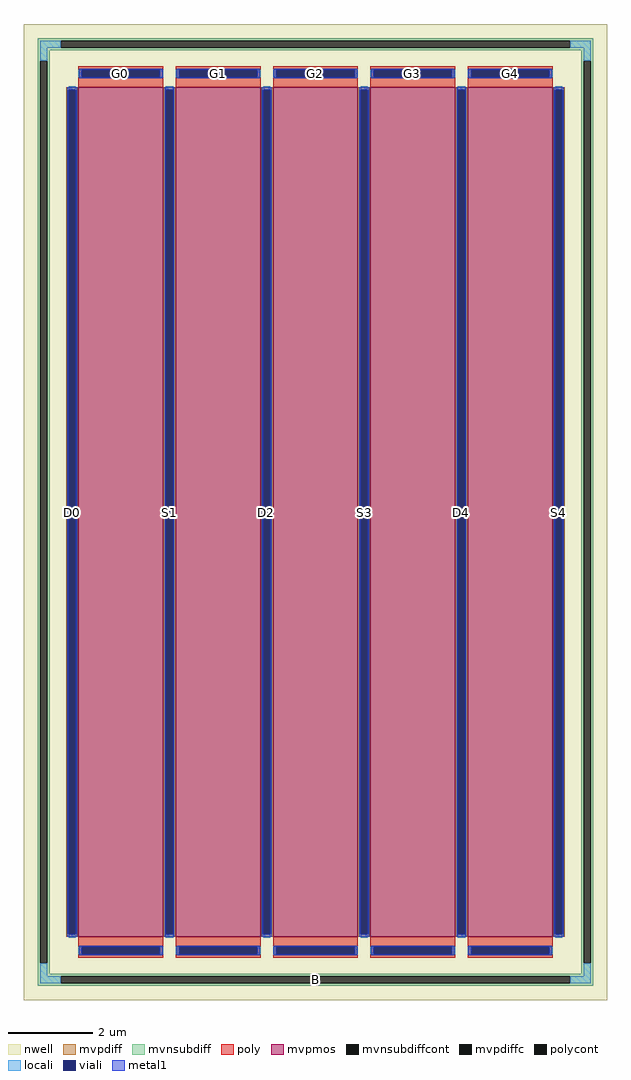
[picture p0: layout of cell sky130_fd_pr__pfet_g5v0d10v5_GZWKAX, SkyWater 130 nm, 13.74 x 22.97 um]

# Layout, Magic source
magic
tech sky130A
magscale 1 2
<< nwell >>
rect -1374 -2297 1374 2297
<< mvpmos >>
rect -1116 -2000 -716 2000
rect -658 -2000 -258 2000
rect -200 -2000 200 2000
rect 258 -2000 658 2000
rect 716 -2000 1116 2000
<< mvpdiff >>
rect -1174 1988 -1116 2000
rect -1174 -1988 -1162 1988
rect -1128 -1988 -1116 1988
rect -1174 -2000 -1116 -1988
rect -716 1988 -658 2000
rect -716 -1988 -704 1988
rect -670 -1988 -658 1988
rect -716 -2000 -658 -1988
rect -258 1988 -200 2000
rect -258 -1988 -246 1988
rect -212 -1988 -200 1988
rect -258 -2000 -200 -1988
rect 200 1988 258 2000
rect 200 -1988 212 1988
rect 246 -1988 258 1988
rect 200 -2000 258 -1988
rect 658 1988 716 2000
rect 658 -1988 670 1988
rect 704 -1988 716 1988
rect 658 -2000 716 -1988
rect 1116 1988 1174 2000
rect 1116 -1988 1128 1988
rect 1162 -1988 1174 1988
rect 1116 -2000 1174 -1988
<< mvpdiffc >>
rect -1162 -1988 -1128 1988
rect -704 -1988 -670 1988
rect -246 -1988 -212 1988
rect 212 -1988 246 1988
rect 670 -1988 704 1988
rect 1128 -1988 1162 1988
<< mvnsubdiff >>
rect -1308 2219 1308 2231
rect -1308 2185 -1200 2219
rect 1200 2185 1308 2219
rect -1308 2173 1308 2185
rect -1308 2123 -1250 2173
rect -1308 -2123 -1296 2123
rect -1262 -2123 -1250 2123
rect 1250 2123 1308 2173
rect -1308 -2173 -1250 -2123
rect 1250 -2123 1262 2123
rect 1296 -2123 1308 2123
rect 1250 -2173 1308 -2123
rect -1308 -2185 1308 -2173
rect -1308 -2219 -1200 -2185
rect 1200 -2219 1308 -2185
rect -1308 -2231 1308 -2219
<< mvnsubdiffcont >>
rect -1200 2185 1200 2219
rect -1296 -2123 -1262 2123
rect 1262 -2123 1296 2123
rect -1200 -2219 1200 -2185
<< poly >>
rect -1116 2081 -716 2097
rect -1116 2047 -1100 2081
rect -732 2047 -716 2081
rect -1116 2000 -716 2047
rect -658 2081 -258 2097
rect -658 2047 -642 2081
rect -274 2047 -258 2081
rect -658 2000 -258 2047
rect -200 2081 200 2097
rect -200 2047 -184 2081
rect 184 2047 200 2081
rect -200 2000 200 2047
rect 258 2081 658 2097
rect 258 2047 274 2081
rect 642 2047 658 2081
rect 258 2000 658 2047
rect 716 2081 1116 2097
rect 716 2047 732 2081
rect 1100 2047 1116 2081
rect 716 2000 1116 2047
rect -1116 -2047 -716 -2000
rect -1116 -2081 -1100 -2047
rect -732 -2081 -716 -2047
rect -1116 -2097 -716 -2081
rect -658 -2047 -258 -2000
rect -658 -2081 -642 -2047
rect -274 -2081 -258 -2047
rect -658 -2097 -258 -2081
rect -200 -2047 200 -2000
rect -200 -2081 -184 -2047
rect 184 -2081 200 -2047
rect -200 -2097 200 -2081
rect 258 -2047 658 -2000
rect 258 -2081 274 -2047
rect 642 -2081 658 -2047
rect 258 -2097 658 -2081
rect 716 -2047 1116 -2000
rect 716 -2081 732 -2047
rect 1100 -2081 1116 -2047
rect 716 -2097 1116 -2081
<< polycont >>
rect -1100 2047 -732 2081
rect -642 2047 -274 2081
rect -184 2047 184 2081
rect 274 2047 642 2081
rect 732 2047 1100 2081
rect -1100 -2081 -732 -2047
rect -642 -2081 -274 -2047
rect -184 -2081 184 -2047
rect 274 -2081 642 -2047
rect 732 -2081 1100 -2047
<< locali >>
rect -1296 2185 -1200 2219
rect 1200 2185 1296 2219
rect -1296 2123 -1262 2185
rect 1262 2123 1296 2185
rect -1116 2047 -1100 2081
rect -732 2047 -716 2081
rect -658 2047 -642 2081
rect -274 2047 -258 2081
rect -200 2047 -184 2081
rect 184 2047 200 2081
rect 258 2047 274 2081
rect 642 2047 658 2081
rect 716 2047 732 2081
rect 1100 2047 1116 2081
rect -1162 1988 -1128 2004
rect -1162 -2004 -1128 -1988
rect -704 1988 -670 2004
rect -704 -2004 -670 -1988
rect -246 1988 -212 2004
rect -246 -2004 -212 -1988
rect 212 1988 246 2004
rect 212 -2004 246 -1988
rect 670 1988 704 2004
rect 670 -2004 704 -1988
rect 1128 1988 1162 2004
rect 1128 -2004 1162 -1988
rect -1116 -2081 -1100 -2047
rect -732 -2081 -716 -2047
rect -658 -2081 -642 -2047
rect -274 -2081 -258 -2047
rect -200 -2081 -184 -2047
rect 184 -2081 200 -2047
rect 258 -2081 274 -2047
rect 642 -2081 658 -2047
rect 716 -2081 732 -2047
rect 1100 -2081 1116 -2047
rect -1296 -2185 -1262 -2123
rect 1262 -2185 1296 -2123
rect -1296 -2219 -1200 -2185
rect 1200 -2219 1296 -2185
<< viali >>
rect -1100 2047 -732 2081
rect -642 2047 -274 2081
rect -184 2047 184 2081
rect 274 2047 642 2081
rect 732 2047 1100 2081
rect -1162 -1988 -1128 1988
rect -704 -1988 -670 1988
rect -246 -1988 -212 1988
rect 212 -1988 246 1988
rect 670 -1988 704 1988
rect 1128 -1988 1162 1988
rect -1100 -2081 -732 -2047
rect -642 -2081 -274 -2047
rect -184 -2081 184 -2047
rect 274 -2081 642 -2047
rect 732 -2081 1100 -2047
<< metal1 >>
rect -1112 2081 -720 2087
rect -1112 2047 -1100 2081
rect -732 2047 -720 2081
rect -1112 2041 -720 2047
rect -654 2081 -262 2087
rect -654 2047 -642 2081
rect -274 2047 -262 2081
rect -654 2041 -262 2047
rect -196 2081 196 2087
rect -196 2047 -184 2081
rect 184 2047 196 2081
rect -196 2041 196 2047
rect 262 2081 654 2087
rect 262 2047 274 2081
rect 642 2047 654 2081
rect 262 2041 654 2047
rect 720 2081 1112 2087
rect 720 2047 732 2081
rect 1100 2047 1112 2081
rect 720 2041 1112 2047
rect -1168 1988 -1122 2000
rect -1168 -1988 -1162 1988
rect -1128 -1988 -1122 1988
rect -1168 -2000 -1122 -1988
rect -710 1988 -664 2000
rect -710 -1988 -704 1988
rect -670 -1988 -664 1988
rect -710 -2000 -664 -1988
rect -252 1988 -206 2000
rect -252 -1988 -246 1988
rect -212 -1988 -206 1988
rect -252 -2000 -206 -1988
rect 206 1988 252 2000
rect 206 -1988 212 1988
rect 246 -1988 252 1988
rect 206 -2000 252 -1988
rect 664 1988 710 2000
rect 664 -1988 670 1988
rect 704 -1988 710 1988
rect 664 -2000 710 -1988
rect 1122 1988 1168 2000
rect 1122 -1988 1128 1988
rect 1162 -1988 1168 1988
rect 1122 -2000 1168 -1988
rect -1112 -2047 -720 -2041
rect -1112 -2081 -1100 -2047
rect -732 -2081 -720 -2047
rect -1112 -2087 -720 -2081
rect -654 -2047 -262 -2041
rect -654 -2081 -642 -2047
rect -274 -2081 -262 -2047
rect -654 -2087 -262 -2081
rect -196 -2047 196 -2041
rect -196 -2081 -184 -2047
rect 184 -2081 196 -2047
rect -196 -2087 196 -2081
rect 262 -2047 654 -2041
rect 262 -2081 274 -2047
rect 642 -2081 654 -2047
rect 262 -2087 654 -2081
rect 720 -2047 1112 -2041
rect 720 -2081 732 -2047
rect 1100 -2081 1112 -2047
rect 720 -2087 1112 -2081
<< labels >>
rlabel mvnsubdiffcont 0 -2202 0 -2202 0 B
port 1 nsew
rlabel mvpdiffc -1145 0 -1145 0 0 D0
port 2 nsew
rlabel polycont -916 2064 -916 2064 0 G0
port 3 nsew
rlabel mvpdiffc -687 0 -687 0 0 S1
port 4 nsew
rlabel polycont -458 2064 -458 2064 0 G1
port 5 nsew
rlabel mvpdiffc -229 0 -229 0 0 D2
port 6 nsew
rlabel polycont 0 2064 0 2064 0 G2
port 7 nsew
rlabel mvpdiffc 229 0 229 0 0 S3
port 8 nsew
rlabel polycont 458 2064 458 2064 0 G3
port 9 nsew
rlabel mvpdiffc 687 0 687 0 0 D4
port 10 nsew
rlabel mvpdiffc 1145 0 1145 0 0 S4
port 11 nsew
rlabel polycont 916 2064 916 2064 0 G4
port 12 nsew
<< properties >>
string FIXED_BBOX -1279 -2202 1279 2202
string gencell sky130_fd_pr__pfet_g5v0d10v5
string library sky130
string parameters w 20 l 2 m 1 nf 5 diffcov 100 polycov 100 guard 1 glc 1 grc 1 gtc 1 gbc 1 tbcov 100 rlcov 100 topc 1 botc 1 poverlap 0 doverlap 1 lmin 0.50 wmin 0.42 class mosfet compatible {sky130_fd_pr__pfet_01v8  sky130_fd_pr__pfet_01v8_lvt sky130_fd_pr__pfet_01v8_hvt  sky130_fd_pr__pfet_g5v0d10v5} full_metal 1 conn_gates 0 viasrc 100 viadrn 100 viagate 100 viagb 0 viagr 0 viagl 0 viagt 0 doports 1
<< end >>
